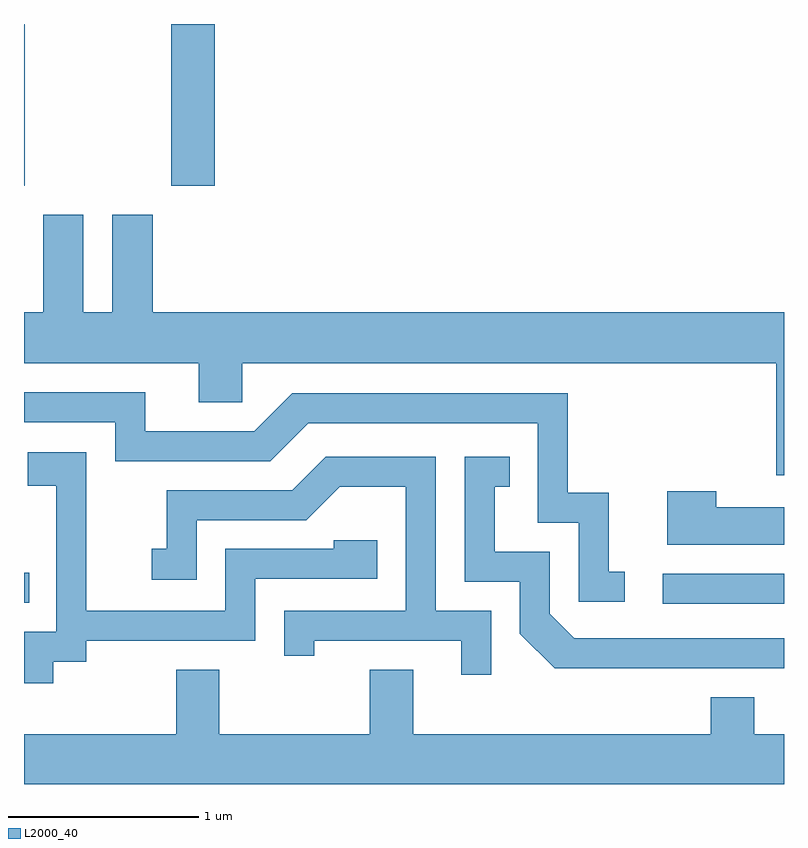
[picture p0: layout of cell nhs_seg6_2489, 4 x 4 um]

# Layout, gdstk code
import gdstk
lib = gdstk.Library(unit=1e-6, precision=1e-09)
def R(c, l, rs):  # rectangles x0, y0, x1, y1
    for r in rs: c.add(gdstk.rectangle(r[:2], r[2:], *l))
def P(c, l, *ps):  # polygons
    for p in ps: c.add(gdstk.Polygon(p, *l))
L2000_40 = (2000, 40)

nhs_seg6_2489 = lib.new_cell('nhs_seg6_2489')
R(nhs_seg6_2489, L2000_40, [(262.973,1653.111,263.611,1653.269), (259.611,1653.116,259.638,1653.274), (259.611,1655.311,259.614,1656.162), (260.386,1655.311,260.614,1656.162)])
P(nhs_seg6_2489, L2000_40, [(263.611,1654.644),(260.289,1654.644),(260.289,1655.159),(260.076,1655.159),(260.076,1654.644),(259.924,1654.644),(259.924,1655.159),(259.711,1655.159),(259.711,1654.644),(259.611,1654.644),(259.611,1654.376),(260.531,1654.376),(260.531,1654.171),(260.759,1654.171),(260.759,1654.376),(263.571,1654.376),(263.571,1653.786),(263.611,1653.786)],
  [(262.773,1653.279),(262.689,1653.279),(262.689,1653.694),(262.474,1653.694),(262.474,1654.219),(261.024,1654.219),(260.824,1654.019),(260.249,1654.019),(260.249,1654.224),(259.611,1654.224),(259.611,1654.066),(260.091,1654.066),(260.091,1653.861),(260.907,1653.861),(261.106,1654.061),(262.316,1654.061),(262.316,1653.536),(262.531,1653.536),(262.531,1653.121),(262.773,1653.121)],
  [(259.764,1652.806),(259.939,1652.806),(259.939,1652.916),(260.829,1652.916),(260.829,1653.241),(261.469,1653.241),(261.469,1653.444),(261.241,1653.444),(261.241,1653.399),(260.671,1653.399),(260.671,1653.074),(259.939,1653.074),(259.939,1653.909),(259.631,1653.909),(259.631,1653.731),(259.781,1653.731),(259.781,1652.964),(259.611,1652.964),(259.611,1652.693),(259.764,1652.693)],
  [(263.611,1652.929),(262.507,1652.929),(262.379,1653.057),(262.379,1653.384),(262.089,1653.384),(262.089,1653.726),(262.168,1653.726),(262.168,1653.884),(261.931,1653.884),(261.931,1653.226),(262.221,1653.226),(262.221,1652.954),(262.404,1652.771),(263.611,1652.771)],
  [(262.069,1653.074),(261.779,1653.074),(261.779,1653.884),(261.199,1653.884),(261.024,1653.709),(260.361,1653.709),(260.361,1653.399),(260.283,1653.399),(260.283,1653.236),(260.519,1653.236),(260.519,1653.551),(261.097,1653.551),(261.272,1653.726),(261.621,1653.726),(261.621,1653.074),(260.981,1653.074),(260.981,1652.838),(261.139,1652.838),(261.139,1652.916),(261.911,1652.916),(261.911,1652.738),(262.069,1652.738)],
  [(263.611,1653.619),(263.254,1653.619),(263.254,1653.704),(262.996,1653.704),(262.996,1653.421),(263.611,1653.421)],
  [(263.611,1652.424),(263.454,1652.424),(263.454,1652.619),(263.226,1652.619),(263.226,1652.424),(261.659,1652.424),(261.659,1652.764),(261.431,1652.764),(261.431,1652.424),(260.639,1652.424),(260.639,1652.764),(260.411,1652.764),(260.411,1652.424),(259.611,1652.424),(259.611,1652.162),(263.611,1652.162)])

lib.write_gds('nhs_seg6_2489.gds')
